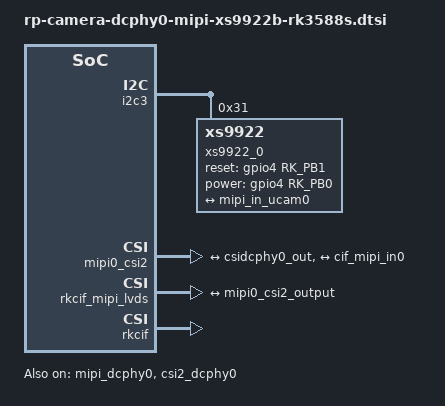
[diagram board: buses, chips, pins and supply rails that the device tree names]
/**
 * mipi csi to xs9922b config
 */
#define RP_DOUBLE_XS9922B 
#define RP_CAMERA_XS9922B

&i2c3 {
        status = "okay";
        pinctrl-names = "default";
        pinctrl-0 = <&i2c3m1_xfer>;


        xs9922_0: xs9922_0@31 {
                compatible = "xs9922";
                status = "okay";
                reg = <0x31>;
                clocks = <&cru CLK_MIPI_CAMARAOUT_M1>;
                clock-names = "xvclk";
                power-domains = <&power RK3588_PD_VI>;
                pinctrl-names = "default";
                pinctrl-0 = <&xs9922_pwr_0>;
                reset-gpios = <&gpio4 RK_PB1 GPIO_ACTIVE_HIGH>;
                power-gpios = <&gpio4 RK_PB0 GPIO_ACTIVE_HIGH>;
		//avdd-supply = <&vcc_avdd>;
                //dovdd-supply = <&vcc_dovdd>;
                //dvdd-supply = <&vcc_dvdd>;
                rockchip,camera-module-index = <0>;
                rockchip,camera-module-facing = "back";
                rockchip,camera-module-name = "default";
                rockchip,camera-module-lens-name = "default";
                rockchip,default_rect= <1920 1080>; 
                port {
                        xs9922_out0: endpoint {
                                remote-endpoint = <&mipi_in_ucam0>;
                                data-lanes = <1 2 3 4>;
                        };
                };
        };
};

&pinctrl {
        xs9922_0 {
                xs9922_pwr_0: camera-pwr-0 {
                        rockchip,pins =
                            <4 RK_PB1 RK_FUNC_GPIO &pcfg_pull_up>,
                            <4 RK_PB0 RK_FUNC_GPIO &pcfg_pull_up>;
                };
        };
};




&mipi_dcphy0 {
	status = "okay";
};










// CIF


&csi2_dcphy0 {
        status = "okay";

        ports {
                #address-cells = <1>;
                #size-cells = <0>;
                port@0 {
                        reg = <0>;
                        #address-cells = <1>;
                        #size-cells = <0>;

                        mipi_in_ucam0: endpoint@1 {
                                reg = <1>;
                                remote-endpoint = <&xs9922_out0>;
                                data-lanes = <1 2 3 4>;
                        };
                };
                port@1 {
                        reg = <1>;
                        #address-cells = <1>;
                        #size-cells = <0>;

                        csidcphy0_out: endpoint@0 {
                                reg = <0>;
                                remote-endpoint = <&mipi0_csi2_input>;
                        };
                };
        };
};


&mipi0_csi2 {
	status = "okay";

	ports {
		#address-cells = <1>;
		#size-cells = <0>;

		port@0 {
			reg = <0>;
			#address-cells = <1>;
			#size-cells = <0>;

			mipi0_csi2_input: endpoint@0 {
				reg = <0>;
				remote-endpoint = <&csidcphy0_out>;
			};
		};

		port@1 {
			reg = <1>;
			#address-cells = <1>;
			#size-cells = <0>;
			
			mipi0_csi2_output: endpoint@1 {
				reg = <1>;
				remote-endpoint = <&cif_mipi_in0>;
			};

		};
	};
};


&rkcif_mipi_lvds {
	status = "okay";

	port {
		cif_mipi_in0: endpoint {
			remote-endpoint = <&mipi0_csi2_output>;
		};
	};
};


&rkcif {
	status = "okay";
};

&rkcif_mmu {
	status = "okay";
};



#if 0

// isp
&mipi0_csi2 {
	status = "okay";

	ports {
		#address-cells = <1>;
		#size-cells = <0>;

		port@0 {
			reg = <0>;
			#address-cells = <1>;
			#size-cells = <0>;

			mipi0_csi2_input: endpoint@1 {
				reg = <1>;
				remote-endpoint = <&csidcphy0_out>;
			};
		};

		port@1 {
			reg = <1>;
			#address-cells = <1>;
			#size-cells = <0>;

			mipi2_csi2_output: endpoint@0 {
				reg = <0>;
				remote-endpoint = <&cif_mipi_in2>;
			};
		};
	};
};


&rkcif_mipi_lvds2 {
	status = "okay";
	port {
		cif_mipi_in2: endpoint {
			remote-endpoint = <&mipi2_csi2_output>;
		};
	};
};


#endif




#if 0

&rkcif_mipi_lvds2_sditf {
	status = "okay";
	port {
		mipi1_lvds_sditf: endpoint {
			remote-endpoint = <&isp0_vir0>;
		};
	};
};


&rkcif_mipi_lvds_sditf {
	status = "okay";

	port {
		mipi_lvds_sditf: endpoint {
			remote-endpoint = <&isp1_in1>;
		};
	};
};


&rkisp_unite {
	status = "okay";
};

&rkisp_unite_mmu {
	status = "okay";
};

&rkisp0_vir0 {
	status = "okay";
	/*
	 * dual isp process image case
	 * other rkisp hw and virtual nodes should disabled
	 */
	rockchip,hw = <&rkisp_unite>;
	port {
		#address-cells = <1>;
		#size-cells = <0>;

		isp0_vir0: endpoint@1 {
			reg = <1>;
			remote-endpoint = <&mipi1_lvds_sditf>;
		};
/*
		isp1_in1: endpoint@0 {
			reg = <0>;
			remote-endpoint = <&mipi_lvds_sditf>;
		};
  */  
	};
};


#endif
